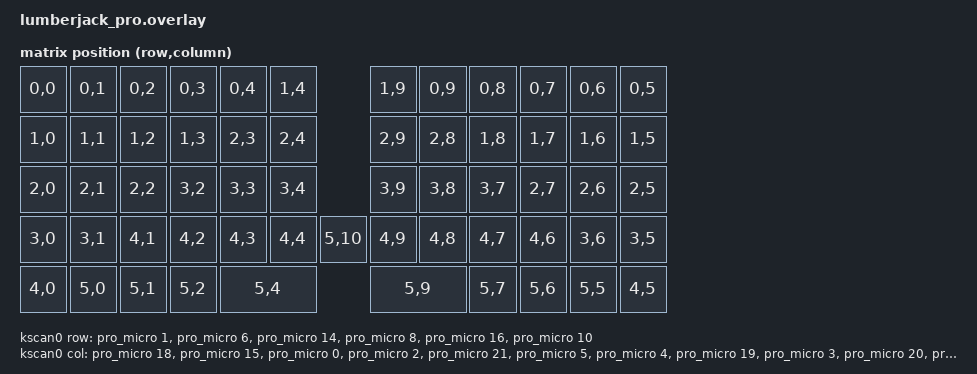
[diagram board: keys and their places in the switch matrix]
/*
 * Copyright (c) 2021 The ZMK Contributors
 *
 * SPDX-License-Identifier: MIT
 */

#include <dt-bindings/zmk/matrix_transform.h>
#include <physical_layouts.dtsi>


/ {
    chosen {
        // zmk,kscan = &kscan0;
        // zmk,matrix-transform = &default_transform;
        zmk,physical-layout = &default_layout;
    };

    default_layout: default_layout {
        compatible = "zmk,physical-layout";
        display-name = "Default Layout";
        transform = <&default_transform>;
        kscan = <&kscan0>;

                keys  //             w   h    x    y     rot    rx    ry
            = <&key_physical_attrs 100 100    0    0       0     0     0>
            , <&key_physical_attrs 100 100  100    0       0     0     0>
            , <&key_physical_attrs 100 100  200    0       0     0     0>
            , <&key_physical_attrs 100 100  300    0       0     0     0>
            , <&key_physical_attrs 100 100  400    0       0     0     0>
            , <&key_physical_attrs 100 100  500    0       0     0     0>
            , <&key_physical_attrs 100 100  700    0       0     0     0>
            , <&key_physical_attrs 100 100  800    0       0     0     0>
            , <&key_physical_attrs 100 100  900    0       0     0     0>
            , <&key_physical_attrs 100 100 1000    0       0     0     0>
            , <&key_physical_attrs 100 100 1100    0       0     0     0>
            , <&key_physical_attrs 100 100 1200    0       0     0     0>
            , <&key_physical_attrs 100 100    0  100       0     0     0>
            , <&key_physical_attrs 100 100  100  100       0     0     0>
            , <&key_physical_attrs 100 100  200  100       0     0     0>
            , <&key_physical_attrs 100 100  300  100       0     0     0>
            , <&key_physical_attrs 100 100  400  100       0     0     0>
            , <&key_physical_attrs 100 100  500  100       0     0     0>
            , <&key_physical_attrs 100 100  700  100       0     0     0>
            , <&key_physical_attrs 100 100  800  100       0     0     0>
            , <&key_physical_attrs 100 100  900  100       0     0     0>
            , <&key_physical_attrs 100 100 1000  100       0     0     0>
            , <&key_physical_attrs 100 100 1100  100       0     0     0>
            , <&key_physical_attrs 100 100 1200  100       0     0     0>
            , <&key_physical_attrs 100 100    0  200       0     0     0>
            , <&key_physical_attrs 100 100  100  200       0     0     0>
            , <&key_physical_attrs 100 100  200  200       0     0     0>
            , <&key_physical_attrs 100 100  300  200       0     0     0>
            , <&key_physical_attrs 100 100  400  200       0     0     0>
            , <&key_physical_attrs 100 100  500  200       0     0     0>
            , <&key_physical_attrs 100 100  700  200       0     0     0>
            , <&key_physical_attrs 100 100  800  200       0     0     0>
            , <&key_physical_attrs 100 100  900  200       0     0     0>
            , <&key_physical_attrs 100 100 1000  200       0     0     0>
            , <&key_physical_attrs 100 100 1100  200       0     0     0>
            , <&key_physical_attrs 100 100 1200  200       0     0     0>
            , <&key_physical_attrs 100 100    0  300       0     0     0>
            , <&key_physical_attrs 100 100  100  300       0     0     0>
            , <&key_physical_attrs 100 100  200  300       0     0     0>
            , <&key_physical_attrs 100 100  300  300       0     0     0>
            , <&key_physical_attrs 100 100  400  300       0     0     0>
            , <&key_physical_attrs 100 100  500  300       0     0     0>
            , <&key_physical_attrs 100 100  600  300       0     0     0>
            , <&key_physical_attrs 100 100  700  300       0     0     0>
            , <&key_physical_attrs 100 100  800  300       0     0     0>
            , <&key_physical_attrs 100 100  900  300       0     0     0>
            , <&key_physical_attrs 100 100 1000  300       0     0     0>
            , <&key_physical_attrs 100 100 1100  300       0     0     0>
            , <&key_physical_attrs 100 100 1200  300       0     0     0>
            , <&key_physical_attrs 100 100    0  400       0     0     0>
            , <&key_physical_attrs 100 100  100  400       0     0     0>
            , <&key_physical_attrs 100 100  200  400       0     0     0>
            , <&key_physical_attrs 100 100  300  400       0     0     0>
            , <&key_physical_attrs 200 100  400  400       0     0     0>
            , <&key_physical_attrs 200 100  700  400       0     0     0>
            , <&key_physical_attrs 100 100  900  400       0     0     0>
            , <&key_physical_attrs 100 100 1000  400       0     0     0>
            , <&key_physical_attrs 100 100 1100  400       0     0     0>
            , <&key_physical_attrs 100 100 1200  400       0     0     0>
            ;

    };

    default_transform: keymap_transform_0 {
        compatible = "zmk,matrix-transform";
        columns = <11>;
        rows = <6>;
        map = <
RC(0,0) RC(0,1) RC(0,2) RC(0,3) RC(0,4) RC(1,4)              RC(1,9) RC(0,9) RC(0,8) RC(0,7) RC(0,6) RC(0,5)
RC(1,0) RC(1,1) RC(1,2) RC(1,3) RC(2,3) RC(2,4)              RC(2,9) RC(2,8) RC(1,8) RC(1,7) RC(1,6) RC(1,5)
RC(2,0) RC(2,1) RC(2,2) RC(3,2) RC(3,3) RC(3,4)              RC(3,9) RC(3,8) RC(3,7) RC(2,7) RC(2,6) RC(2,5)
RC(3,0) RC(3,1) RC(4,1) RC(4,2) RC(4,3) RC(4,4)   RC(5,10)   RC(4,9) RC(4,8) RC(4,7) RC(4,6) RC(3,6) RC(3,5)
RC(4,0) RC(5,0) RC(5,1) RC(5,2)     RC(5,4)                      RC(5,9)     RC(5,7) RC(5,6) RC(5,5) RC(4,5)
        >;
    };

    kscan0: kscan {
        compatible = "zmk,kscan-gpio-matrix";
        wakeup-source;

        diode-direction = "col2row";

        row-gpios
            = <&pro_micro 1 (GPIO_ACTIVE_HIGH | GPIO_PULL_DOWN)>
            , <&pro_micro 6 (GPIO_ACTIVE_HIGH | GPIO_PULL_DOWN)>
            , <&pro_micro 14 (GPIO_ACTIVE_HIGH | GPIO_PULL_DOWN)>
            , <&pro_micro 8 (GPIO_ACTIVE_HIGH | GPIO_PULL_DOWN)>
            , <&pro_micro 16 (GPIO_ACTIVE_HIGH | GPIO_PULL_DOWN)>
            , <&pro_micro 10 (GPIO_ACTIVE_HIGH | GPIO_PULL_DOWN)>
            ;

        col-gpios
            = <&pro_micro 18 GPIO_ACTIVE_HIGH>
            , <&pro_micro 15 GPIO_ACTIVE_HIGH>
            , <&pro_micro 0 GPIO_ACTIVE_HIGH>
            , <&pro_micro 2 GPIO_ACTIVE_HIGH>
            , <&pro_micro 21 GPIO_ACTIVE_HIGH>
            , <&pro_micro 5 GPIO_ACTIVE_HIGH>
            , <&pro_micro 4 GPIO_ACTIVE_HIGH>
            , <&pro_micro 19 GPIO_ACTIVE_HIGH>
            , <&pro_micro 3 GPIO_ACTIVE_HIGH>
            , <&pro_micro 20 GPIO_ACTIVE_HIGH>
            , <&pro_micro 9 GPIO_ACTIVE_HIGH>
            ;
    };

};
